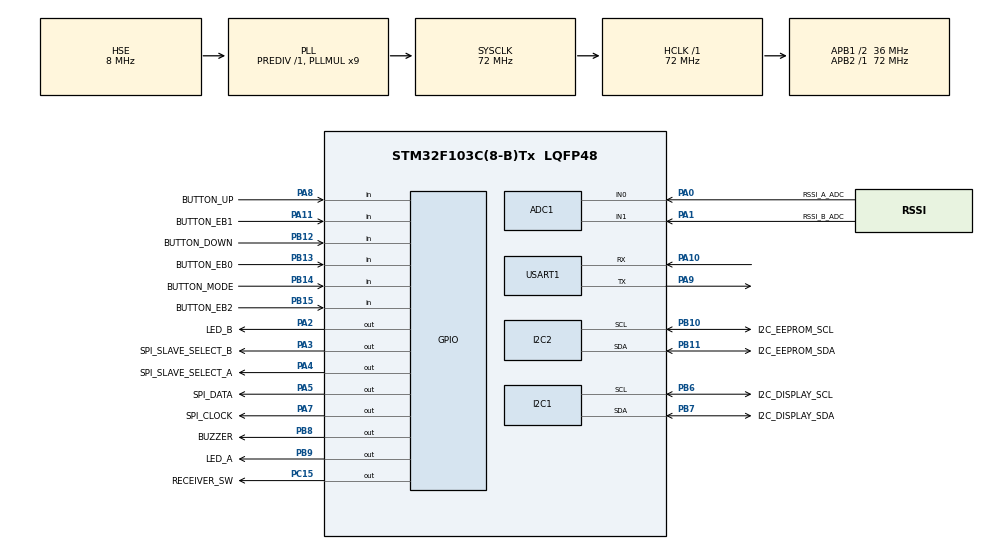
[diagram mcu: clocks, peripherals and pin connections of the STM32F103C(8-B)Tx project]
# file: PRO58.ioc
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ADC1.Channel-0\#ChannelRegularConversion=ADC_CHANNEL_0
ADC1.Channel-1\#ChannelRegularConversion=ADC_CHANNEL_1
ADC1.ContinuousConvMode=ENABLE
ADC1.DataAlign=ADC_DATAALIGN_RIGHT
ADC1.DiscontinuousConvMode=DISABLE
ADC1.EnableAnalogWatchDog=false
ADC1.EnableRegularConversion=ENABLE
ADC1.ExternalTrigConvEdgeChoice=NONE
ADC1.InjNumberOfConversion=0
ADC1.NbrOfConversion=2
ADC1.NbrOfConversionFlag=1
ADC1.Rank-0\#ChannelRegularConversion=1
ADC1.Rank-1\#ChannelRegularConversion=2
ADC1.SamplingTime-0\#ChannelRegularConversion=ADC_SAMPLETIME_28CYCLES_5
ADC1.SamplingTime-1\#ChannelRegularConversion=ADC_SAMPLETIME_28CYCLES_5
ADC1.ScanConvMode=ADC_SCAN_ENABLE
ADC1.master=1
Dma.ADC1.0.Direction=DMA_PERIPH_TO_MEMORY
Dma.ADC1.0.Instance=DMA1_Channel1
Dma.ADC1.0.MemDataAlignment=DMA_MDATAALIGN_HALFWORD
Dma.ADC1.0.MemInc=DMA_MINC_ENABLE
Dma.ADC1.0.Mode=DMA_CIRCULAR
Dma.ADC1.0.PeriphDataAlignment=DMA_PDATAALIGN_HALFWORD
Dma.ADC1.0.PeriphInc=DMA_PINC_DISABLE
Dma.ADC1.0.Priority=DMA_PRIORITY_LOW
Dma.I2C1_TX.3.Direction=DMA_MEMORY_TO_PERIPH
Dma.I2C1_TX.3.Instance=DMA1_Channel6
Dma.I2C1_TX.3.MemDataAlignment=DMA_MDATAALIGN_BYTE
Dma.I2C1_TX.3.MemInc=DMA_MINC_ENABLE
Dma.I2C1_TX.3.Mode=DMA_NORMAL
Dma.I2C1_TX.3.PeriphDataAlignment=DMA_PDATAALIGN_BYTE
Dma.I2C1_TX.3.PeriphInc=DMA_PINC_DISABLE
Dma.I2C1_TX.3.Priority=DMA_PRIORITY_MEDIUM
Dma.I2C2_RX.2.Direction=DMA_PERIPH_TO_MEMORY
Dma.I2C2_RX.2.Instance=DMA1_Channel5
Dma.I2C2_RX.2.MemDataAlignment=DMA_MDATAALIGN_BYTE
Dma.I2C2_RX.2.MemInc=DMA_MINC_ENABLE
Dma.I2C2_RX.2.Mode=DMA_NORMAL
Dma.I2C2_RX.2.PeriphDataAlignment=DMA_PDATAALIGN_BYTE
Dma.I2C2_RX.2.PeriphInc=DMA_PINC_DISABLE
Dma.I2C2_RX.2.Priority=DMA_PRIORITY_LOW
Dma.I2C2_TX.1.Direction=DMA_MEMORY_TO_PERIPH
Dma.I2C2_TX.1.Instance=DMA1_Channel4
Dma.I2C2_TX.1.MemDataAlignment=DMA_MDATAALIGN_BYTE
Dma.I2C2_TX.1.MemInc=DMA_MINC_ENABLE
Dma.I2C2_TX.1.Mode=DMA_NORMAL
Dma.I2C2_TX.1.PeriphDataAlignment=DMA_PDATAALIGN_BYTE
Dma.I2C2_TX.1.PeriphInc=DMA_PINC_DISABLE
Dma.I2C2_TX.1.Priority=DMA_PRIORITY_LOW
Dma.Request0=ADC1
Dma.Request1=I2C2_TX
Dma.Request2=I2C2_RX
Dma.Request3=I2C1_TX
I2C1.I2C_Mode=I2C_Fast
I2C2.I2C_Mode=I2C_Fast
Mcu.Family=STM32F1
Mcu.Name=STM32F103C(8-B)Tx
Mcu.Package=LQFP48
NVIC.DMA1_Channel1_IRQn=true\:0\:0\:false\:false\:true
NVIC.DMA1_Channel4_IRQn=true\:0\:0\:false\:false\:true
NVIC.DMA1_Channel5_IRQn=true\:0\:0\:false\:false\:true
NVIC.DMA1_Channel6_IRQn=true\:0\:0\:false\:false\:true
NVIC.PriorityGroup=NVIC_PRIORITYGROUP_4
PA0-WKUP.GPIO_Label=RSSI_A_ADC
PA0-WKUP.Signal=ADCx_IN0
PA1.GPIO_Label=RSSI_B_ADC
PA1.Signal=ADCx_IN1
PA10.Mode=Asynchronous
PA10.Signal=USART1_RX
PA11.GPIO_Label=BUTTON_EB1
PA11.GPIO_PuPd=GPIO_PULLUP
PA11.Signal=GPIO_Input
PA13.Mode=Serial_Wire
PA13.Signal=SYS_JTMS-SWDIO
PA14.Mode=Serial_Wire
PA14.Signal=SYS_JTCK-SWCLK
PA2.GPIO_Label=LED_B
PA2.Signal=GPIO_Output
PA3.GPIO_Label=SPI_SLAVE_SELECT_B
PA3.GPIO_Speed=GPIO_SPEED_FREQ_MEDIUM
PA3.Signal=GPIO_Output
PA4.GPIO_Label=SPI_SLAVE_SELECT_A
PA4.GPIO_Speed=GPIO_SPEED_FREQ_MEDIUM
PA4.Signal=GPIO_Output
PA5.GPIO_Label=SPI_DATA
PA5.GPIO_Speed=GPIO_SPEED_FREQ_MEDIUM
PA5.Signal=GPIO_Output
PA7.GPIO_Label=SPI_CLOCK
PA7.GPIO_Speed=GPIO_SPEED_FREQ_MEDIUM
PA7.Signal=GPIO_Output
PA8.GPIO_Label=BUTTON_UP
PA8.GPIO_PuPd=GPIO_PULLUP
PA8.Signal=GPIO_Input
PA9.Mode=Asynchronous
PA9.Signal=USART1_TX
PB10.GPIO_Label=I2C_EEPROM_SCL
PB10.Mode=I2C
PB10.Signal=I2C2_SCL
PB11.GPIO_Label=I2C_EEPROM_SDA
PB11.Mode=I2C
PB11.Signal=I2C2_SDA
PB12.GPIO_Label=BUTTON_DOWN
PB12.GPIO_PuPd=GPIO_PULLUP
PB12.Signal=GPIO_Input
PB13.GPIO_Label=BUTTON_EB0
PB13.GPIO_PuPd=GPIO_PULLUP
PB13.Signal=GPIO_Input
PB14.GPIO_Label=BUTTON_MODE
PB14.GPIO_PuPd=GPIO_PULLUP
PB14.Signal=GPIO_Input
PB15.GPIO_Label=BUTTON_EB2
PB15.GPIO_PuPd=GPIO_PULLUP
PB15.Signal=GPIO_Input
PB6.GPIO_Label=I2C_DISPLAY_SCL
PB6.Mode=I2C
PB6.Signal=I2C1_SCL
PB7.GPIO_Label=I2C_DISPLAY_SDA
PB7.Mode=I2C
PB7.Signal=I2C1_SDA
PB8.GPIO_Label=BUZZER
PB8.GPIO_ModeDefaultOutputPP=GPIO_MODE_OUTPUT_PP
PB8.Signal=GPIO_Output
PB9.GPIO_Label=LED_A
PB9.Signal=GPIO_Output
PC15-OSC32_OUT.GPIO_Label=RECEIVER_SW
PC15-OSC32_OUT.Signal=GPIO_Output
PD0-OSC_IN.Mode=HSE-External-Oscillator
PD0-OSC_IN.Signal=RCC_OSC_IN
PD1-OSC_OUT.Mode=HSE-External-Oscillator
PD1-OSC_OUT.Signal=RCC_OSC_OUT
ProjectManager.HeapSize=0x200
ProjectManager.StackSize=0x400
ProjectManager.TargetToolchain=SW4STM32
RCC.ADCPresc=RCC_ADCPCLK2_DIV6
RCC.AHBFreq_Value=72000000
RCC.APB1CLKDivider=RCC_HCLK_DIV2
RCC.APB1Freq_Value=36000000
RCC.APB1TimFreq_Value=72000000
RCC.APB2Freq_Value=72000000
RCC.APB2TimFreq_Value=72000000
RCC.HCLKFreq_Value=72000000
RCC.HSIState=RCC_HSI_ON
RCC.PLLMUL=RCC_PLL_MUL9
RCC.PLLSourceVirtual=RCC_PLLSOURCE_HSE
RCC.SYSCLKFreq_VALUE=72000000
RCC.SYSCLKSource=RCC_SYSCLKSOURCE_PLLCLK
RCC.USBFreq_Value=72000000
SH.ADCx_IN0.0=ADC1_IN0,IN0
SH.ADCx_IN1.0=ADC1_IN1,IN1
board=PRO58

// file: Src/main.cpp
/**
  ******************************************************************************
  * File Name          : main.c
  * Description        : Main program body
  ******************************************************************************
  *
  * COPYRIGHT(c) 2017 STMicroelectronics
  *
  * Redistribution and use in source and binary forms, with or without modification,
  * are permitted provided that the following conditions are met:
  *   1. Redistributions of source code must retain the above copyright notice,
  *      this list of conditions and the following disclaimer.
  *   2. Redistributions in binary form must reproduce the above copyright notice,
  *      this list of conditions and the following disclaimer in the documentation
  *      and/or other materials provided with the distribution.
  *   3. Neither the name of STMicroelectronics nor the names of its contributors
  *      may be used to endorse or promote products derived from this software
  *      without specific prior written permission.
  *
  * THIS SOFTWARE IS PROVIDED BY THE COPYRIGHT HOLDERS AND CONTRIBUTORS "AS IS"
  * AND ANY EXPRESS OR IMPLIED WARRANTIES, INCLUDING, BUT NOT LIMITED TO, THE
  * IMPLIED WARRANTIES OF MERCHANTABILITY AND FITNESS FOR A PARTICULAR PURPOSE ARE
  * DISCLAIMED. IN NO EVENT SHALL THE COPYRIGHT HOLDER OR CONTRIBUTORS BE LIABLE
  * FOR ANY DIRECT, INDIRECT, INCIDENTAL, SPECIAL, EXEMPLARY, OR CONSEQUENTIAL
  * DAMAGES (INCLUDING, BUT NOT LIMITED TO, PROCUREMENT OF SUBSTITUTE GOODS OR
  * SERVICES; LOSS OF USE, DATA, OR PROFITS; OR BUSINESS INTERRUPTION) HOWEVER
  * CAUSED AND ON ANY THEORY OF LIABILITY, WHETHER IN CONTRACT, STRICT LIABILITY,
  * OR TORT (INCLUDING NEGLIGENCE OR OTHERWISE) ARISING IN ANY WAY OUT OF THE USE
  * OF THIS SOFTWARE, EVEN IF ADVISED OF THE POSSIBILITY OF SUCH DAMAGE.
  *
  ******************************************************************************
  */
#include "stm32f1xx_hal.h"

/* USER CODE BEGIN Includes */

#include "settings_eeprom.h"

#include "channels.h"
#include "receiver.h"
#include "receiver_spi.h"

#include "buttons.h"
#include "state.h"
#include "ui.h"

#include "DWT_Delay.h"
#include "i2c_reset.h"

/* USER CODE END Includes */

ADC_HandleTypeDef hadc1;
DMA_HandleTypeDef hdma_adc1;

I2C_HandleTypeDef hi2c1;
I2C_HandleTypeDef hi2c2;
DMA_HandleTypeDef hdma_i2c1_tx;
DMA_HandleTypeDef hdma_i2c2_tx;
DMA_HandleTypeDef hdma_i2c2_rx;

UART_HandleTypeDef huart1;

/* USER CODE BEGIN PV */
/* Private variables ---------------------------------------------------------*/

/* USER CODE END PV */

void SystemClock_Config(void);
void Error_Handler(void);
static void MX_GPIO_Init(void);
static void MX_DMA_Init(void);
static void MX_ADC1_Init(void);
static void MX_I2C1_Init(void);
static void MX_I2C2_Init(void);
static void MX_USART1_UART_Init(void);

/* USER CODE BEGIN PFP */
/* Private function prototypes -----------------------------------------------*/
static void globalMenuButtonHandler(
  Button button,
  Buttons::PressType pressType
);
/* USER CODE END PFP */

int main(void)
{

  /* MCU Configuration----------------------------------------------------------*/

  /* Reset of all peripherals, Initializes the Flash interface and the Systick. */
  HAL_Init();

  /* Configure the system clock */
  SystemClock_Config();

  /* Initialize all configured peripherals */
  MX_GPIO_Init();
  MX_DMA_Init();
  MX_ADC1_Init();
  MX_I2C1_Init();
  MX_I2C2_Init();
  MX_USART1_UART_Init();

  /* USER CODE BEGIN 2 */

  if(DWT_Delay_Init())
	{
	  Error_Handler(); /* Call Error Handler */
	}

  HAL_GPIO_WritePin(RECEIVER_SW_GPIO_Port,RECEIVER_SW_Pin,GPIO_PIN_RESET);
  HAL_GPIO_WritePin(SPI_SLAVE_SELECT_A_GPIO_Port,SPI_SLAVE_SELECT_A_Pin,GPIO_PIN_SET);
  HAL_GPIO_WritePin(SPI_SLAVE_SELECT_B_GPIO_Port,SPI_SLAVE_SELECT_B_Pin,GPIO_PIN_SET);
  HAL_GPIO_WritePin(SPI_CLOCK_GPIO_Port,SPI_CLOCK_Pin,GPIO_PIN_RESET);
  HAL_GPIO_WritePin(SPI_DATA_GPIO_Port,SPI_DATA_Pin,GPIO_PIN_RESET);

  HAL_Delay(1000); //Delay 500ms to allow RX5808 startup.
  I2C_Reset(hi2c2, MX_I2C2_Init);
  EepromSettings.init(&hi2c2);
  EepromSettings.load();
  Receiver::setup(&hadc1);
  Receiver::setChannel(EepromSettings.startChannel);

  StateMachine::setup();

  I2C_Reset(hi2c1, MX_I2C1_Init);
  Ui::setup(&hi2c1);

  Receiver::setActiveReceiver(Receiver::ReceiverId::A);

  Buttons::registerChangeFunc(globalMenuButtonHandler);
  // Switch to initial state.
  StateMachine::switchState(StateMachine::State::SEARCH);

  /* USER CODE END 2 */

  /* Infinite loop */
  /* USER CODE BEGIN WHILE */
  while (1)
  {
	  Receiver::update();
	  Buttons::update();
	  StateMachine::update();
	  Ui::update();
	  EepromSettings.update();

	  if (
	    StateMachine::currentState != StateMachine::State::SCREENSAVER
	    && StateMachine::currentState != StateMachine::State::BANDSCAN
	    && (HAL_GetTick() - Buttons::lastChangeTime) >
	    (SCREENSAVER_TIMEOUT * 1000)
	  ) {
	    StateMachine::switchState(StateMachine::State::SCREENSAVER);
	  }

  /* USER CODE END WHILE */

  }

}

/** System Clock Configuration
*/
void SystemClock_Config(void)
{

  RCC_OscInitTypeDef RCC_OscInitStruct;
  RCC_ClkInitTypeDef RCC_ClkInitStruct;
  RCC_PeriphCLKInitTypeDef PeriphClkInit;

  RCC_OscInitStruct.OscillatorType = RCC_OSCILLATORTYPE_HSE;
  RCC_OscInitStruct.HSEState = RCC_HSE_ON;
  RCC_OscInitStruct.HSEPredivValue = RCC_HSE_PREDIV_DIV1;
  RCC_OscInitStruct.PLL.PLLState = RCC_PLL_ON;
  RCC_OscInitStruct.PLL.PLLSource = RCC_PLLSOURCE_HSE;
  RCC_OscInitStruct.PLL.PLLMUL = RCC_PLL_MUL9;
  if (HAL_RCC_OscConfig(&RCC_OscInitStruct) != HAL_OK)
  {
    Error_Handler();
  }

  RCC_ClkInitStruct.ClockType = RCC_CLOCKTYPE_HCLK|RCC_CLOCKTYPE_SYSCLK
                              |RCC_CLOCKTYPE_PCLK1|RCC_CLOCKTYPE_PCLK2;
  RCC_ClkInitStruct.SYSCLKSource = RCC_SYSCLKSOURCE_PLLCLK;
  RCC_ClkInitStruct.AHBCLKDivider = RCC_SYSCLK_DIV1;
  RCC_ClkInitStruct.APB1CLKDivider = RCC_HCLK_DIV2;
  RCC_ClkInitStruct.APB2CLKDivider = RCC_HCLK_DIV1;
  if (HAL_RCC_ClockConfig(&RCC_ClkInitStruct, FLASH_LATENCY_2) != HAL_OK)
  {
    Error_Handler();
  }

  PeriphClkInit.PeriphClockSelection = RCC_PERIPHCLK_ADC;
  PeriphClkInit.AdcClockSelection = RCC_ADCPCLK2_DIV6;
  if (HAL_RCCEx_PeriphCLKConfig(&PeriphClkInit) != HAL_OK)
  {
    Error_Handler();
  }

  HAL_SYSTICK_Config(HAL_RCC_GetHCLKFreq()/1000);

  HAL_SYSTICK_CLKSourceConfig(SYSTICK_CLKSOURCE_HCLK);

  /* SysTick_IRQn interrupt configuration */
  HAL_NVIC_SetPriority(SysTick_IRQn, 0, 0);
}

/* ADC1 init function */
static void MX_ADC1_Init(void)
{

  ADC_ChannelConfTypeDef sConfig;

    /**Common config
    */
  hadc1.Instance = ADC1;
  hadc1.Init.ScanConvMode = ADC_SCAN_ENABLE;
  hadc1.Init.ContinuousConvMode = ENABLE;
  hadc1.Init.DiscontinuousConvMode = DISABLE;
  hadc1.Init.ExternalTrigConv = ADC_SOFTWARE_START;
  hadc1.Init.DataAlign = ADC_DATAALIGN_RIGHT;
  hadc1.Init.NbrOfConversion = 2;
  if (HAL_ADC_Init(&hadc1) != HAL_OK)
  {
    Error_Handler();
  }

    /**Configure Regular Channel
    */
  sConfig.Channel = ADC_CHANNEL_0;
  sConfig.Rank = 1;
  sConfig.SamplingTime = ADC_SAMPLETIME_28CYCLES_5;
  if (HAL_ADC_ConfigChannel(&hadc1, &sConfig) != HAL_OK)
  {
    Error_Handler();
  }

    /**Configure Regular Channel
    */
  sConfig.Channel = ADC_CHANNEL_1;
  sConfig.Rank = 2;
  if (HAL_ADC_ConfigChannel(&hadc1, &sConfig) != HAL_OK)
  {
    Error_Handler();
  }

}

/* I2C1 init function */
static void MX_I2C1_Init(void)
{

  hi2c1.Instance = I2C1;
  hi2c1.Init.ClockSpeed = 400000;
  hi2c1.Init.DutyCycle = I2C_DUTYCYCLE_2;
  hi2c1.Init.OwnAddress1 = 0;
  hi2c1.Init.AddressingMode = I2C_ADDRESSINGMODE_7BIT;
  hi2c1.Init.DualAddressMode = I2C_DUALADDRESS_DISABLE;
  hi2c1.Init.OwnAddress2 = 0;
  hi2c1.Init.GeneralCallMode = I2C_GENERALCALL_DISABLE;
  hi2c1.Init.NoStretchMode = I2C_NOSTRETCH_DISABLE;
  if (HAL_I2C_Init(&hi2c1) != HAL_OK)
  {
    Error_Handler();
  }

}

/* I2C2 init function */
static void MX_I2C2_Init(void)
{

  hi2c2.Instance = I2C2;
  hi2c2.Init.ClockSpeed = 400000;
  hi2c2.Init.DutyCycle = I2C_DUTYCYCLE_2;
  hi2c2.Init.OwnAddress1 = 0;
  hi2c2.Init.AddressingMode = I2C_ADDRESSINGMODE_7BIT;
  hi2c2.Init.DualAddressMode = I2C_DUALADDRESS_DISABLE;
  hi2c2.Init.OwnAddress2 = 0;
  hi2c2.Init.GeneralCallMode = I2C_GENERALCALL_DISABLE;
  hi2c2.Init.NoStretchMode = I2C_NOSTRETCH_DISABLE;
  if (HAL_I2C_Init(&hi2c2) != HAL_OK)
  {
    Error_Handler();
  }

}

/* USART1 init function */
static void MX_USART1_UART_Init(void)
{

  huart1.Instance = USART1;
  huart1.Init.BaudRate = 115200;
  huart1.Init.WordLength = UART_WORDLENGTH_8B;
  huart1.Init.StopBits = UART_STOPBITS_1;
  huart1.Init.Parity = UART_PARITY_NONE;
  huart1.Init.Mode = UART_MODE_TX_RX;
  huart1.Init.HwFlowCtl = UART_HWCONTROL_NONE;
  huart1.Init.OverSampling = UART_OVERSAMPLING_16;
  if (HAL_UART_Init(&huart1) != HAL_OK)
  {
    Error_Handler();
  }

}

static void MX_DMA_Init(void)
{
  /* DMA controller clock enable */
  __HAL_RCC_DMA1_CLK_ENABLE();

  /* DMA interrupt init */
  /* DMA1_Channel1_IRQn interrupt configuration */
  HAL_NVIC_SetPriority(DMA1_Channel1_IRQn, 0, 0);
  HAL_NVIC_EnableIRQ(DMA1_Channel1_IRQn);
  /* DMA1_Channel4_IRQn interrupt configuration */
  HAL_NVIC_SetPriority(DMA1_Channel4_IRQn, 0, 0);
  HAL_NVIC_EnableIRQ(DMA1_Channel4_IRQn);
  /* DMA1_Channel5_IRQn interrupt configuration */
  HAL_NVIC_SetPriority(DMA1_Channel5_IRQn, 0, 0);
  HAL_NVIC_EnableIRQ(DMA1_Channel5_IRQn);
  /* DMA1_Channel6_IRQn interrupt configuration */
  HAL_NVIC_SetPriority(DMA1_Channel6_IRQn, 0, 0);
  HAL_NVIC_EnableIRQ(DMA1_Channel6_IRQn);

}

/** Configure pins as
        * Analog
        * Input
        * Output
        * EVENT_OUT
        * EXTI
*/
static void MX_GPIO_Init(void)
{

  GPIO_InitTypeDef GPIO_InitStruct;

  /* GPIO Ports Clock Enable */
  __HAL_RCC_GPIOC_CLK_ENABLE();
  __HAL_RCC_GPIOD_CLK_ENABLE();
  __HAL_RCC_GPIOA_CLK_ENABLE();
  __HAL_RCC_GPIOB_CLK_ENABLE();

  /*Configure GPIO pin Output Level */
  HAL_GPIO_WritePin(RECEIVER_SW_GPIO_Port, RECEIVER_SW_Pin, GPIO_PIN_RESET);

  /*Configure GPIO pin Output Level */
  HAL_GPIO_WritePin(GPIOA, LED_B_Pin|SPI_SLAVE_SELECT_B_Pin|SPI_SLAVE_SELECT_A_Pin|SPI_DATA_Pin
                          |SPI_CLOCK_Pin, GPIO_PIN_RESET);

  /*Configure GPIO pin Output Level */
  HAL_GPIO_WritePin(GPIOB, BUZZER_Pin|LED_A_Pin, GPIO_PIN_RESET);

  /*Configure GPIO pin : RECEIVER_SW_Pin */
  GPIO_InitStruct.Pin = RECEIVER_SW_Pin;
  GPIO_InitStruct.Mode = GPIO_MODE_OUTPUT_PP;
  GPIO_InitStruct.Speed = GPIO_SPEED_FREQ_LOW;
  HAL_GPIO_Init(RECEIVER_SW_GPIO_Port, &GPIO_InitStruct);

  /*Configure GPIO pin : LED_B_Pin */
  GPIO_InitStruct.Pin = LED_B_Pin;
  GPIO_InitStruct.Mode = GPIO_MODE_OUTPUT_PP;
  GPIO_InitStruct.Speed = GPIO_SPEED_FREQ_LOW;
  HAL_GPIO_Init(LED_B_GPIO_Port, &GPIO_InitStruct);

  /*Configure GPIO pins : SPI_SLAVE_SELECT_B_Pin SPI_SLAVE_SELECT_A_Pin SPI_DATA_Pin SPI_CLOCK_Pin */
  GPIO_InitStruct.Pin = SPI_SLAVE_SELECT_B_Pin|SPI_SLAVE_SELECT_A_Pin|SPI_DATA_Pin|SPI_CLOCK_Pin;
  GPIO_InitStruct.Mode = GPIO_MODE_OUTPUT_PP;
  GPIO_InitStruct.Speed = GPIO_SPEED_FREQ_MEDIUM;
  HAL_GPIO_Init(GPIOA, &GPIO_InitStruct);

  /*Configure GPIO pins : BUTTON_DOWN_Pin BUTTON_EB0_Pin BUTTON_MODE_Pin BUTTON_EB2_Pin */
  GPIO_InitStruct.Pin = BUTTON_DOWN_Pin|BUTTON_EB0_Pin|BUTTON_MODE_Pin|BUTTON_EB2_Pin;
  GPIO_InitStruct.Mode = GPIO_MODE_INPUT;
  GPIO_InitStruct.Pull = GPIO_PULLUP;
  HAL_GPIO_Init(GPIOB, &GPIO_InitStruct);

  /*Configure GPIO pins : BUTTON_UP_Pin BUTTON_EB1_Pin */
  GPIO_InitStruct.Pin = BUTTON_UP_Pin|BUTTON_EB1_Pin;
  GPIO_InitStruct.Mode = GPIO_MODE_INPUT;
  GPIO_InitStruct.Pull = GPIO_PULLUP;
  HAL_GPIO_Init(GPIOA, &GPIO_InitStruct);

  /*Configure GPIO pins : BUZZER_Pin LED_A_Pin */
  GPIO_InitStruct.Pin = BUZZER_Pin|LED_A_Pin;
  GPIO_InitStruct.Mode = GPIO_MODE_OUTPUT_PP;
  GPIO_InitStruct.Speed = GPIO_SPEED_FREQ_LOW;
  HAL_GPIO_Init(GPIOB, &GPIO_InitStruct);

}

/* USER CODE BEGIN 4 */
static void globalMenuButtonHandler(
  Button button,
  Buttons::PressType pressType
) {
  if (
    StateMachine::currentState != StateMachine::State::MENU &&
    button == Button::MODE &&
    pressType == Buttons::PressType::HOLDING
  ) {
    StateMachine::switchState(StateMachine::State::MENU);
  }

}
/* USER CODE END 4 */

void Error_Handler(void)
{
  while(1)
  {
  }
}

/************************ (C) COPYRIGHT STMicroelectronics *****END OF FILE****/
